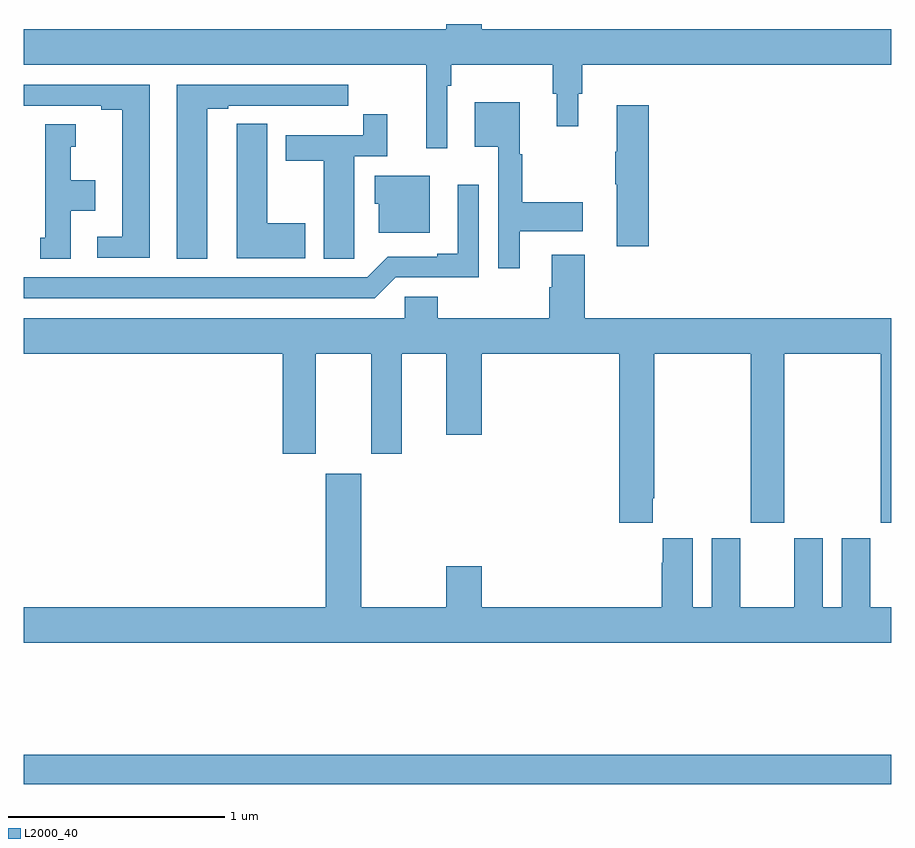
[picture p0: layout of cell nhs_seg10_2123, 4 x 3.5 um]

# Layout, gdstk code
import gdstk
lib = gdstk.Library(unit=1e-6, precision=1e-09)
def R(c, l, rs):  # rectangles x0, y0, x1, y1
    for r in rs: c.add(gdstk.rectangle(r[:2], r[2:], *l))
def P(c, l, *ps):  # polygons
    for p in ps: c.add(gdstk.Polygon(p, *l))
L2000_40 = (2000, 40)

nhs_seg10_2123 = lib.new_cell('nhs_seg10_2123')
R(nhs_seg10_2123, L2000_40, [(223,1300.996,227,1301.132)])
P(nhs_seg10_2123, L2000_40, [(224.952,1304.216),(224.972,1304.216),(224.972,1304.312),(225.439,1304.312),(225.439,1304.178),(225.458,1304.178),(225.458,1304.028),(225.556,1304.028),(225.556,1304.178),(225.575,1304.178),(225.575,1304.312),(227,1304.312),(227,1304.476),(225.112,1304.476),(225.112,1304.5),(224.948,1304.5),(224.948,1304.476),(223,1304.476),(223,1304.312),(224.855,1304.312),(224.855,1303.926),(224.952,1303.926)],
  [(223.582,1304.22),(223,1304.22),(223,1304.124),(223.358,1304.124),(223.358,1304.104),(223.454,1304.104),(223.454,1303.518),(223.338,1303.518),(223.338,1303.422),(223.582,1303.422)],
  [(223.846,1304.109),(223.942,1304.109),(223.942,1304.124),(224.218,1304.124),(224.218,1304.123),(224.384,1304.123),(224.384,1304.124),(224.497,1304.124),(224.497,1304.22),(223.706,1304.22),(223.706,1303.417),(223.846,1303.417)],
  [(225.286,1303.544),(225.577,1303.544),(225.577,1303.679),(225.298,1303.679),(225.298,1303.899),(225.286,1303.899),(225.286,1304.14),(225.08,1304.14),(225.08,1303.934),(225.189,1303.934),(225.189,1303.374),(225.286,1303.374)],
  [(225.881,1304.125),(225.734,1304.125),(225.734,1303.912),(225.727,1303.912),(225.727,1303.762),(225.734,1303.762),(225.734,1303.476),(225.881,1303.476)],
  [(224.523,1303.528),(224.524,1303.528),(224.524,1303.89),(224.675,1303.89),(224.675,1304.083),(224.566,1304.083),(224.566,1303.986),(224.207,1303.986),(224.207,1303.87),(224.384,1303.87),(224.384,1303.417),(224.523,1303.417)],
  [(224.299,1303.581),(224.122,1303.581),(224.122,1304.039),(223.983,1304.039),(223.983,1303.931),(223.982,1303.931),(223.982,1303.421),(224.299,1303.421)],
  [(223.216,1303.64),(223.33,1303.64),(223.33,1303.78),(223.216,1303.78),(223.216,1303.935),(223.24,1303.935),(223.24,1304.038),(223.1,1304.038),(223.1,1303.515),(223.076,1303.515),(223.076,1303.417),(223.216,1303.417)],
  [(224.872,1303.801),(224.618,1303.801),(224.618,1303.671),(224.636,1303.671),(224.636,1303.538),(224.872,1303.538)],
  [(224.715,1303.332),(225.099,1303.332),(225.099,1303.759),(225.002,1303.759),(225.002,1303.441),(224.906,1303.441),(224.906,1303.428),(224.679,1303.428),(224.583,1303.332),(223,1303.332),(223,1303.236),(224.619,1303.236)],
  [(225.901,1302.313),(225.906,1302.313),(225.906,1302.98),(226.351,1302.98),(226.351,1302.201),(226.506,1302.201),(226.506,1302.98),(226.951,1302.98),(226.951,1302.201),(227,1302.201),(227,1303.144),(225.587,1303.144),(225.587,1303.435),(225.434,1303.435),(225.434,1303.286),(225.422,1303.286),(225.422,1303.144),(224.909,1303.144),(224.909,1303.242),(224.757,1303.242),(224.757,1303.144),(223,1303.144),(223,1302.98),(224.195,1302.98),(224.195,1302.519),(224.347,1302.519),(224.347,1302.98),(224.603,1302.98),(224.603,1302.519),(224.743,1302.519),(224.743,1302.98),(224.948,1302.98),(224.948,1302.606),(225.112,1302.606),(225.112,1302.98),(225.746,1302.98),(225.746,1302.201),(225.901,1302.201)],
  [(227,1301.812),(226.903,1301.812),(226.903,1302.13),(226.772,1302.13),(226.772,1301.812),(226.684,1301.812),(226.684,1302.13),(226.553,1302.13),(226.553,1301.812),(226.303,1301.812),(226.303,1302.13),(226.172,1302.13),(226.172,1301.812),(226.084,1301.812),(226.084,1302.13),(225.947,1302.13),(225.947,1302.017),(225.941,1302.017),(225.941,1301.812),(225.112,1301.812),(225.112,1302.001),(224.948,1302.001),(224.948,1301.812),(224.557,1301.812),(224.557,1302.427),(224.393,1302.427),(224.393,1301.812),(223,1301.812),(223,1301.648),(227,1301.648)])

lib.write_gds('nhs_seg10_2123.gds')
